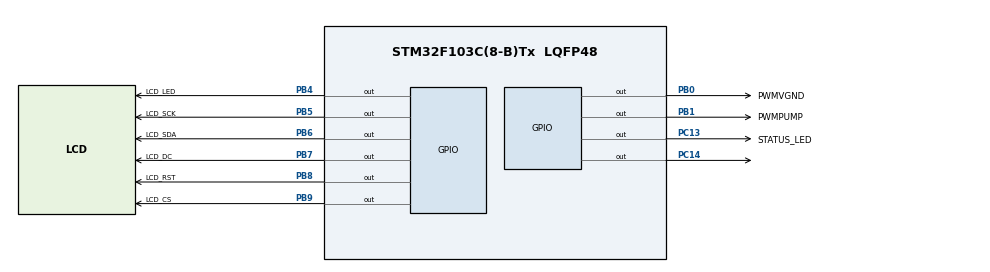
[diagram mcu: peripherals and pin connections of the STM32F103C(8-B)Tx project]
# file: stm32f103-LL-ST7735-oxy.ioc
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Mcu.Family=STM32F1
PB7.GPIO_PuPd=GPIO_NOPULL
RCC.PLLSourceVirtual=RCC_PLLSOURCE_HSE
PB5.GPIO_ModeDefaultOutputPP=GPIO_MODE_OUTPUT_PP
FREERTOS.Tasks01=defaultTask,0,128,StartDefaultTask,Default,NULL,Dynamic,NULL,NULL;myTask02,0,128,StartTask02,Default,NULL,Dynamic,NULL,NULL;myTask03,0,128,StartTask03,Default,NULL,Dynamic,NULL,NULL;myTask04,0,256,StartTask04,Default,NULL,Dynamic,NULL,NULL;myTask05,0,128,StartTask05,Default,NULL,Dynamic,NULL,NULL;myTask06,0,128,StartTask06,Default,NULL,Dynamic,NULL,NULL
ADC1.Rank-0\#ChannelRegularConversion=1
PD1-OSC_OUT.Mode=HSE-External-Oscillator
PB9.GPIO_Label=LCD_CS
VP_ADC1_TempSens_Input.Mode=IN-TempSens
PB6.GPIO_PuPd=GPIO_NOPULL
PB8.GPIO_PuPd=GPIO_NOPULL
PB9.GPIO_ModeDefaultOutputPP=GPIO_MODE_OUTPUT_PP
PC13-TAMPER-RTC.Signal=GPIO_Output
PB0.GPIO_Label=PWMVGND
PB6.GPIO_Label=LCD_SDA
PD0-OSC_IN.Signal=RCC_OSC_IN
RCC.APB1CLKDivider=RCC_HCLK_DIV2
PC14-OSC32_IN.Signal=GPIO_Output
RCC.SYSCLKSource=RCC_SYSCLKSOURCE_PLLCLK
ProjectManager.StackSize=0x800
PD1-OSC_OUT.Signal=RCC_OSC_OUT
RCC.ADCPresc=RCC_ADCPCLK2_DIV6
PA13.Signal=SYS_JTMS-SWDIO
PB8.GPIO_Label=LCD_RST
ProjectManager.TargetToolchain=Makefile
RCC.HCLKFreq_Value=72000000
RCC.APB2TimFreq_Value=72000000
PB6.Signal=GPIO_Output
PB5.PinState=GPIO_PIN_RESET
PB4.GPIO_PuPd=GPIO_NOPULL
RCC.USBFreq_Value=72000000
FREERTOS.configMINIMAL_STACK_SIZE=128
RCC.AHBFreq_Value=72000000
PD0-OSC_IN.Mode=HSE-External-Oscillator
ADC1.Channel-0\#ChannelRegularConversion=ADC_CHANNEL_TEMPSENSOR
board=custom
PC13-TAMPER-RTC.GPIO_Label=STATUS_LED
RCC.PLLMUL=RCC_PLL_MUL9
PB4.GPIO_Speed=GPIO_SPEED_FREQ_LOW
RCC.APB2Freq_Value=72000000
PB4.GPIO_Label=LCD_LED
PC13-TAMPER-RTC.PinState=GPIO_PIN_RESET
PA14.Mode=Serial_Wire
PB7.GPIO_ModeDefaultOutputPP=GPIO_MODE_OUTPUT_PP
PB1.GPIO_Label=PWMPUMP
PB8.PinState=GPIO_PIN_RESET
PB7.Signal=GPIO_Output
PC13-TAMPER-RTC.GPIO_Speed=GPIO_SPEED_FREQ_LOW
VP_FREERTOS_VS_CMSIS_V1.Mode=CMSIS_V1
PA13.Mode=Serial_Wire
Mcu.Name=STM32F103C(8-B)Tx
ADC1.SamplingTime-0\#ChannelRegularConversion=ADC_SAMPLETIME_1CYCLE_5
FREERTOS.configTOTAL_HEAP_SIZE=5680
PB7.PinState=GPIO_PIN_RESET
PB7.GPIO_Label=LCD_DC
RCC.SYSCLKFreq_VALUE=72000000
PC13-TAMPER-RTC.GPIO_ModeDefaultOutputPP=GPIO_MODE_OUTPUT_PP
Mcu.Package=LQFP48
PB5.Signal=GPIO_Output
PB9.Signal=GPIO_Output
PB1.Signal=GPIO_Output
ADC1.master=1
PB5.GPIO_PuPd=GPIO_NOPULL
PC13-TAMPER-RTC.GPIO_PuPd=GPIO_NOPULL
PB6.PinState=GPIO_PIN_RESET
PB9.PinState=GPIO_PIN_RESET
PB6.GPIO_ModeDefaultOutputPP=GPIO_MODE_OUTPUT_PP
PA14.Signal=SYS_JTCK-SWCLK
PB9.GPIO_PuPd=GPIO_NOPULL
ProjectManager.HeapSize=0x1000
PB8.GPIO_ModeDefaultOutputPP=GPIO_MODE_OUTPUT_PP
PB5.GPIO_Speed=GPIO_SPEED_FREQ_HIGH
NVIC.PriorityGroup=NVIC_PRIORITYGROUP_4
ADC1.NbrOfConversionFlag=1
PB9.GPIO_Speed=GPIO_SPEED_FREQ_LOW
PB5.GPIO_Label=LCD_SCK
RCC.APB1TimFreq_Value=72000000
PB8.Signal=GPIO_Output
PB6.GPIO_Speed=GPIO_SPEED_FREQ_HIGH
RCC.APB1Freq_Value=36000000
PB8.GPIO_Speed=GPIO_SPEED_FREQ_LOW
PB0.Signal=GPIO_Output
PB4.PinState=GPIO_PIN_RESET
PB4.Signal=GPIO_Output
PB4.GPIO_ModeDefaultOutputPP=GPIO_MODE_OUTPUT_PP
PB7.GPIO_Speed=GPIO_SPEED_FREQ_LOW

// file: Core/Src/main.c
/* USER CODE BEGIN Header */
/**
  ******************************************************************************
  * @file           : main.c
  * @brief          : Main program body
  ******************************************************************************
  * @attention
  *
  * <h2><center>&copy; Copyright (c) 2019 STMicroelectronics.
  * All rights reserved.</center></h2>
  *
  * This software component is licensed by ST under BSD 3-Clause license,
  * the "License"; You may not use this file except in compliance with the
  * License. You may obtain a copy of the License at:
  *                        opensource.org/licenses/BSD-3-Clause
  *
  ******************************************************************************
  */
/* USER CODE END Header */
#include "main.h"
#include "cmsis_os.h"
#include "adc.h"
#include "gpio.h"

/* USER CODE BEGIN Includes */
#include "clock_128_mHz.h"
#include "adc_cfg.h"
#include <math.h>
//#include <stdlib.h>
#include "ST7735.h"
#include "soft_lcd.h"
#include "soft_adc.h"
#include "soft_ina219.h"
#include "soft_pcf8591.h"

#include "pins_ext.h"

#define m_PI 3.14159

uint32_t adcResult = 0;
uint32_t max_result = 0;
float real_result[160] = {0};

uint16_t adc_counter = 0;
uint16_t i = 0;

uint16_t coord_x[160] = {0};
uint16_t coord_y[160] = {0};

uint32_t tim_counter = 0;
void fill_text(uint16_t i);

lcd_t *lcd; // pointer to i2c object, for lcd module
adc_t *adc; // pointer to i2c object, for ads1115
ina_t *ina; // pointer to i2c object, for ina219

void fill_buff(uint16_t i)
{
  if(i>158)
  {
    max_result = 0;
    for(uint16_t i = 0; i < 160; i++)
    {
      // ST7735_fillCircle(coord_x[i], coord_y[i], 2, ST7735_BLACK);
      // ST7735_drawLine(coord_x[i], coord_y[i], coord_x[i-1], coord_y[i-1], ST7735_BLACK); //(  x0,y0,x1,y1,color);
      // ST7735_drawLine(coord_x[i], coord_y[i]+1, coord_x[i-1], coord_y[i-1]+1, ST7735_BLACK); //(  x0,y0,x1,y1,color);
      ST7735_drawLine(coord_x[i], coord_y[i]-1, coord_x[i-1], coord_y[i-1]-1, ST7735_BLACK); //(  x0,y0,x1,y1,color);
      // ST7735_drawLine(coord_x[i]+1, coord_y[i], coord_x[i-1]+1, coord_y[i-1], ST7735_BLACK); //(  x0,y0,x1,y1,color);
      ST7735_drawLine(coord_x[i]-1, coord_y[i], coord_x[i-1]-1, coord_y[i-1], ST7735_BLACK); //(  x0,y0,x1,y1,color);
    }

    // ST7735_fillScreen(ST7735_BLACK);
    for(uint16_t i = 5; i<160; i+=23) ST7735_drawLine( i, 10, i, 230, ST7735_WHITE); //draw vertical lines
    for(uint16_t i = 10; i<128; i+=22) ST7735_drawLine( 10, i, 300, i, ST7735_WHITE); //draw horizontal lines
    ST7735_drawLine( 10, 119, 300, 119, ST7735_WHITE); //draw horizontal lines
    // ST7735_drawLine( 10, 121, 300, 121, ST7735_WHITE); //draw horizontal lines
    fill_text(i);
  }

  while(adc_counter < 12) // Пока количество измерений меньше N
  {
    adcResult += read_adc(ADC1, 0);
    adc_counter++; // Увеличиваем счетчик измерений
  }

  coord_x[i] = i; // сохраняем координаты <cord_x/y> в буфер для последующей очистки дисплея
  coord_y[i] = 230-adcResult/adc_counter/18; // Вычисляем среднее значение
  real_result[i] = adcResult/adc_counter*0.82; // 3300/4096=0.80566 Вычисляем среднее значение

  if(real_result[i]<500) real_result[i] = 0;
  if(real_result[i]>500) real_result[i] -= 500;
  real_result[i] *= .4; // значение в барах

  adcResult = 0; // Обнуляем значение
  adc_counter = 0; // Обнуляем счетчик измерений
  if(real_result[i]>max_result) max_result = real_result[i]; // сохранение максимального числа
}

void write_graph(uint16_t i)
{
  if(i) // draw values
  {
    // fill_text(i);
    // ST7735_fillCircle(coord_x[i], coord_y[i], 2, ST7735_YELLOW);
    // ST7735_drawLine(coord_x[i], coord_y[i], coord_x[i-1], coord_y[i-1], ST7735_CYAN); //(  x0,y0,x1,y1,color);
    // ST7735_drawLine(coord_x[i], coord_y[i]+1, coord_x[i-1], coord_y[i-1]+1, ST7735_GREEN); //(  x0,y0,x1,y1,color);
    ST7735_drawLine(coord_x[i], coord_y[i]-1, coord_x[i-1], coord_y[i-1]-1, ST7735_CYAN); //(  x0,y0,x1,y1,color);
    // ST7735_drawLine(coord_x[i]+1, coord_y[i], coord_x[i-1]+1, coord_y[i-1], ST7735_GREEN); //(  x0,y0,x1,y1,color);
    ST7735_drawLine(coord_x[i]-1, coord_y[i], coord_x[i-1]-1, coord_y[i-1], ST7735_CYAN); //(  x0,y0,x1,y1,color);
  }
}

void fill_text(uint16_t i)
{
  ST7735_setTextBgColor(ST7735_BLACK);

  ST7735_setTextSize(2);
  ST7735_setTextColor(ST7735_YELLOW);

  read_adc(ADC1, 0); // heed for rank count
  ST7735_setCursor(10,  10); ST7735_draw_value(read_adc(ADC1, 1));
  ST7735_setCursor(10,  45); ST7735_draw_value(read_adc(ADC1, 2));
  ST7735_setCursor(10,  80); ST7735_draw_value(read_adc(ADC1, 3));
  ST7735_setCursor(10, 115); ST7735_draw_value(read_adc(ADC1, 4));
  ST7735_setCursor(10, 150); ST7735_draw_value(read_adc(ADC1, 5));
  ST7735_setCursor(10, 185); ST7735_draw_value(read_adc(ADC1, 6));
}

void stled_off(void)
{
  LL_GPIO_SetOutputPin(STATUS_LED_GPIO_Port, STATUS_LED_Pin);
}

void stled_on(void)
{
  LL_GPIO_ResetOutputPin(STATUS_LED_GPIO_Port, STATUS_LED_Pin);
}

/* USER CODE END Includes */

/* USER CODE BEGIN PV */
/* Private variables ---------------------------------------------------------*/

/* USER CODE END PV */

void SystemClock_Config(void);
void MX_FREERTOS_Init(void);
/* USER CODE BEGIN PFP */
/* Private function prototypes -----------------------------------------------*/

void i2c_lcd_bus(void);
void i2c_ads1115_bus(void);
void i2c_ina219_bus(void);

/*!
** the callback function from TIM4_IRQHandler
** period the tick timer one clock makes 10 mksec
**/

/*!
** the create i2c objects
**/
void i2c_ads1115_bus(void)
{
  #define adc_address 0x48
  #define adc_scl LL_GPIO_PIN_5
  #define adc_sda LL_GPIO_PIN_4

  adc = ads1115_create(GPIOB, adc_scl, adc_sda, adc_address);
}

/*!
** the create i2c objects
**/
void i2c_ina219_bus(void)
{
  #define ina_address 0x40
  #define ina_scl LL_GPIO_PIN_7
  #define ina_sda LL_GPIO_PIN_6

  ina = ina219_create(GPIOB, ina_scl, ina_sda, ina_address);
}

/*!
** the create i2c objects
**/
void i2c_lcd_bus(void)
{
  #define i2c_lcd_address 0x3f
  #define lcd_scl LL_GPIO_PIN_4
  #define lcd_sda LL_GPIO_PIN_3

  lcd = lcd_create(GPIOB, lcd_scl, lcd_sda, i2c_lcd_address, 4);
}

/*!
** the runnind measure and show result
**/
void show_ina219(lcd_t *lcd, ina_t *ina)
{
  float shuntvoltage = 0;
  float busvoltage = 0;
  float current_mA = 0;
  float power_mW = 0;

  shuntvoltage = ina219_getShuntVoltage_mV(ina);
  busvoltage = ina219_getBusVoltage_V(ina);
  current_mA = ina219_getCurrent_mA(ina);
  power_mW = ina219_getPower_mW(ina);

  lcd_pos(lcd, 0,6); lcd_print(lcd, "ShuntV"); lcd_pos(lcd, 0,14);lcd_printdigit(lcd, shuntvoltage);
  lcd_pos(lcd, 1,6); lcd_print(lcd, "Bus  V"); lcd_pos(lcd, 1,14);lcd_printdigit(lcd, busvoltage);
  lcd_pos(lcd, 2,6); lcd_print(lcd, "cur mA"); lcd_pos(lcd, 2,14);lcd_printdigit(lcd, current_mA);
  lcd_pos(lcd, 3,6); lcd_print(lcd, "pwr mW"); lcd_pos(lcd, 3,14);lcd_printdigit(lcd, power_mW);
}

/*!
** the runnind measure and show result
**/
void show_ads1115(lcd_t *lcd, adc_t *adc)
{
  uint16_t val = 0;
  const float VPS = 6.144 / 32768.0;  // volts per step

  float measure_1;
  float measure_2;

  ads1115_set_single_channal(adc, 3);
  val = ads1115_get(adc);

  uint8_t gain = 1;
  uint8_t diff_in = 1;
  ads1115_set_diff_channal(adc, diff_in, gain);
  measure_1 = get_diff_measure(adc, gain);

  gain = 1;
  diff_in = 2;
  ads1115_set_diff_channal(adc, diff_in, gain);
  measure_2 = get_diff_measure(adc, gain);

  lcd_pos(lcd, 0,0); lcd_printdigit(lcd, val*VPS);
  lcd_pos(lcd, 1,0); lcd_printdigit(lcd, measure_1);
  lcd_pos(lcd, 2,0); lcd_printdigit(lcd, measure_2);
}

/* USER CODE END PFP */

int main(void)
{

  /* MCU Configuration--------------------------------------------------------*/

  /* Reset of all peripherals, Initializes the Flash interface and the Systick. */

  LL_APB2_GRP1_EnableClock(LL_APB2_GRP1_PERIPH_AFIO);
  LL_APB1_GRP1_EnableClock(LL_APB1_GRP1_PERIPH_PWR);

  NVIC_SetPriorityGrouping(NVIC_PRIORITYGROUP_4);

  /* System interrupt init*/
  /* PendSV_IRQn interrupt configuration */
  NVIC_SetPriority(PendSV_IRQn, NVIC_EncodePriority(NVIC_GetPriorityGrouping(),15, 0));
  /* SysTick_IRQn interrupt configuration */
  NVIC_SetPriority(SysTick_IRQn, NVIC_EncodePriority(NVIC_GetPriorityGrouping(),15, 0));

  /** NOJTAG: JTAG-DP Disabled and SW-DP Enabled
  */
  LL_GPIO_AF_Remap_SWJ_NOJTAG();

  /* Configure the system clock */
  SystemClock_Config();

  /* USER CODE BEGIN SysInit */
   SystemClock_128_mHz();
  /* USER CODE END SysInit */

  /* Initialize all configured peripherals */
  MX_GPIO_Init();
  MX_ADC1_Init();
  /* USER CODE BEGIN 2 */
  ADC_Init(ADC1);
  lcd_reset();
  stled_off();

  ST7735_begin();
  ST7735_setRotation(3);
  ST7735_fillScreen(ST7735_BLACK);

  /*
  uint8_t w_tft = 160;
  uint8_t h_tft = 128;
  uint8_t top = 8;
  uint8_t bot = h_tft-8;
  for(uint16_t i =  0; i<=w_tft; i+=w_tft/2-top/2) ST7735_drawLine( i, top, i, bot, ST7735_WHITE); // draw vertical lines
  for(uint16_t i =   8; i<h_tft; i+=36) ST7735_drawLine( 14, i, w_tft-18, i, ST7735_WHITE); // draw horizontal lines
  */

  // ST7735_drawLine( 10, h_tft/2-1, w_tft-10, h_tft/2-1, ST7735_WHITE); //draw horizontal lines
  // ST7735_drawLine( 10, 121, 300, 121, ST7735_WHITE); //draw horizontal lines

  uint8_t time[] = "time";
  ST7735_setRotation(0);
  ST7735_setTextSize(2);
  ST7735_setTextBgColor(ST7735_BLACK);
  ST7735_setTextColor(ST7735_CYAN);
  ST7735_setCursor(8,   24); ST7735_writeString(time); // getTickCount
  ST7735_setRotation(3);
  ST7735_drawRect(8,  4, 110, 36, ST7735_RED);
  ST7735_drawRect(8, 44, 110, 36, ST7735_YELLOW);
  ST7735_drawRect(8, 84, 110, 36, ST7735_BLUE);
  ST7735_setTextSize(2);

  /**
   * @uncomment active:
   */
  // i2c_lcd_bus();
  // lcd_pos(lcd, 0,6); lcd_print(lcd, "test");
  // i2c_ads1115_bus();
  // i2c_ina219_bus();

  /* USER CODE END 2 */

  /* Call init function for freertos objects (in freertos.c) */
  MX_FREERTOS_Init();
  /* Start scheduler */
  osKernelStart();

  /* We should never get here as control is now taken by the scheduler */
  /* Infinite loop */
  /* USER CODE BEGIN WHILE */

  // HAL_TIM_Base_Init(&htim3);
  // HAL_TIM_PeriodElapsedCallback(&htim3);
  // HAL_TIM_Base_Start_IT(&htim3); //запустим таймер

  // HAL_TIM_Base_Init(&htim4);
  // HAL_TIM_Base_Start_IT(&htim4); //запустим таймер

  for(uint8_t i=0;i<31;i++)
  {
    LL_GPIO_TogglePin(STATUS_LED_GPIO_Port, STATUS_LED_Pin);
    LL_mDelay(25);
  }

  while (1)
  {
    /* USER CODE END WHILE */

    /* USER CODE BEGIN 3 */
    for(uint16_t i = 0; i < 160; i++) // measurement and display redraw
    {
      LL_mDelay(1);
      fill_buff(i);
      write_graph(i);
    }
  }
  /* USER CODE END 3 */
}

void SystemClock_Config(void)
{
  LL_FLASH_SetLatency(LL_FLASH_LATENCY_2);
  while(LL_FLASH_GetLatency()!= LL_FLASH_LATENCY_2)
  {
  }
  LL_RCC_HSE_Enable();

   /* Wait till HSE is ready */
  while(LL_RCC_HSE_IsReady() != 1)
  {

  }
  LL_RCC_PLL_ConfigDomain_SYS(LL_RCC_PLLSOURCE_HSE_DIV_1, LL_RCC_PLL_MUL_9);
  LL_RCC_PLL_Enable();

   /* Wait till PLL is ready */
  while(LL_RCC_PLL_IsReady() != 1)
  {

  }
  LL_RCC_SetAHBPrescaler(LL_RCC_SYSCLK_DIV_1);
  LL_RCC_SetAPB1Prescaler(LL_RCC_APB1_DIV_2);
  LL_RCC_SetAPB2Prescaler(LL_RCC_APB2_DIV_1);
  LL_RCC_SetSysClkSource(LL_RCC_SYS_CLKSOURCE_PLL);

   /* Wait till System clock is ready */
  while(LL_RCC_GetSysClkSource() != LL_RCC_SYS_CLKSOURCE_STATUS_PLL)
  {

  }
  LL_Init1msTick(72000000);
  LL_SetSystemCoreClock(72000000);
  LL_RCC_SetADCClockSource(LL_RCC_ADC_CLKSRC_PCLK2_DIV_6);
}

void Error_Handler(void)
{
}

/************************ (C) COPYRIGHT STMicroelectronics *****END OF FILE****/

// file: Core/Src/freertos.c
/* USER CODE BEGIN Header */
/**
  ******************************************************************************
  * File Name          : freertos.c
  * Description        : Code for freertos applications
  ******************************************************************************
  * @attention
  *
  * <h2><center>&copy; Copyright (c) 2019 STMicroelectronics.
  * All rights reserved.</center></h2>
  *
  * This software component is licensed by ST under Ultimate Liberty license
  * SLA0044, the "License"; You may not use this file except in compliance with
  * the License. You may obtain a copy of the License at:
  *                             www.st.com/SLA0044
  *
  ******************************************************************************
  */
/* USER CODE END Header */

#include "FreeRTOS.h"
#include "task.h"
#include "main.h"
#include "cmsis_os.h"

/* USER CODE BEGIN Includes */
#include "ST7735.h"
#include "adc_cfg.h"
#include "task_os.h"

/* USER CODE END Includes */

osThreadId defaultTaskHandle;
osThreadId myTask02Handle;
osThreadId myTask03Handle;
osThreadId myTask04Handle;
osThreadId myTask05Handle;
osThreadId myTask06Handle;

void StartDefaultTask(void const * argument);
void StartTask02(void const * argument);
void StartTask03(void const * argument);
void StartTask04(void const * argument);
void StartTask05(void const * argument);
void StartTask06(void const * argument);

void MX_FREERTOS_Init(void); /* (MISRA C 2004 rule 8.1) */

/* GetIdleTaskMemory prototype (linked to static allocation support) */
void vApplicationGetIdleTaskMemory( StaticTask_t **ppxIdleTaskTCBBuffer, StackType_t **ppxIdleTaskStackBuffer, uint32_t *pulIdleTaskStackSize );

/* USER CODE BEGIN GET_IDLE_TASK_MEMORY */
static StaticTask_t xIdleTaskTCBBuffer;
static StackType_t xIdleStack[configMINIMAL_STACK_SIZE];

void vApplicationGetIdleTaskMemory( StaticTask_t **ppxIdleTaskTCBBuffer, StackType_t **ppxIdleTaskStackBuffer, uint32_t *pulIdleTaskStackSize )
{
  *ppxIdleTaskTCBBuffer = &xIdleTaskTCBBuffer;
  *ppxIdleTaskStackBuffer = &xIdleStack[0];
  *pulIdleTaskStackSize = configMINIMAL_STACK_SIZE;
  /* place for user code */
}
/* USER CODE END GET_IDLE_TASK_MEMORY */

void MX_FREERTOS_Init(void) {

  /* Create the thread(s) */
  /* definition and creation of defaultTask */
  osThreadDef(defaultTask, StartDefaultTask, osPriorityNormal, 0, 128);
  defaultTaskHandle = osThreadCreate(osThread(defaultTask), NULL);

  /* definition and creation of myTask02 */
  osThreadDef(myTask02, StartTask02, osPriorityNormal, 0, 128);
  myTask02Handle = osThreadCreate(osThread(myTask02), NULL);

  /* definition and creation of myTask03 */
  osThreadDef(myTask03, StartTask03, osPriorityNormal, 0, 128);
  myTask03Handle = osThreadCreate(osThread(myTask03), NULL);

  /* definition and creation of myTask04 */
  osThreadDef(myTask04, StartTask04, osPriorityNormal, 0, 256);
  myTask04Handle = osThreadCreate(osThread(myTask04), NULL);

  /* definition and creation of myTask05 */
  osThreadDef(myTask05, StartTask05, osPriorityNormal, 0, 128);
  myTask05Handle = osThreadCreate(osThread(myTask05), NULL);

  /* definition and creation of myTask06 */
  osThreadDef(myTask06, StartTask06, osPriorityNormal, 0, 128);
  myTask06Handle = osThreadCreate(osThread(myTask06), NULL);

}

void StartDefaultTask(void const * argument)
{
  /* USER CODE BEGIN StartDefaultTask */
  /* Infinite loop */
  for(;;)
  {
    DefaultTask(argument);
    osDelay(1);
  }
  /* USER CODE END StartDefaultTask */
}

void StartTask02(void const * argument)
{
  /* USER CODE BEGIN StartTask02 */
  /* Infinite loop */
  for(;;)
  {
    Task02(argument);
    osDelay(1);
  }
  /* USER CODE END StartTask02 */
}

void StartTask03(void const * argument)
{
  /* USER CODE BEGIN StartTask03 */
  /* Infinite loop */
  for(;;)
  {
    Task03(argument);
    osDelay(1);
  }
  /* USER CODE END StartTask03 */
}

void StartTask04(void const * argument)
{
  /* USER CODE BEGIN StartTask04 */
  /* Infinite loop */
  for(;;)
  {
    Task04(argument);
    osDelay(1);
  }
  /* USER CODE END StartTask04 */
}

void StartTask05(void const * argument)
{
  /* USER CODE BEGIN StartTask05 */
  /* Infinite loop */
  for(;;)
  {
    Task05(argument);
    osDelay(1);
  }
  /* USER CODE END StartTask05 */
}

void StartTask06(void const * argument)
{
  /* USER CODE BEGIN StartTask06 */
  /* Infinite loop */
  for(;;)
  {
    Task06(argument);
    osDelay(1);
  }
  /* USER CODE END StartTask06 */
}

/************************ (C) COPYRIGHT STMicroelectronics *****END OF FILE****/
